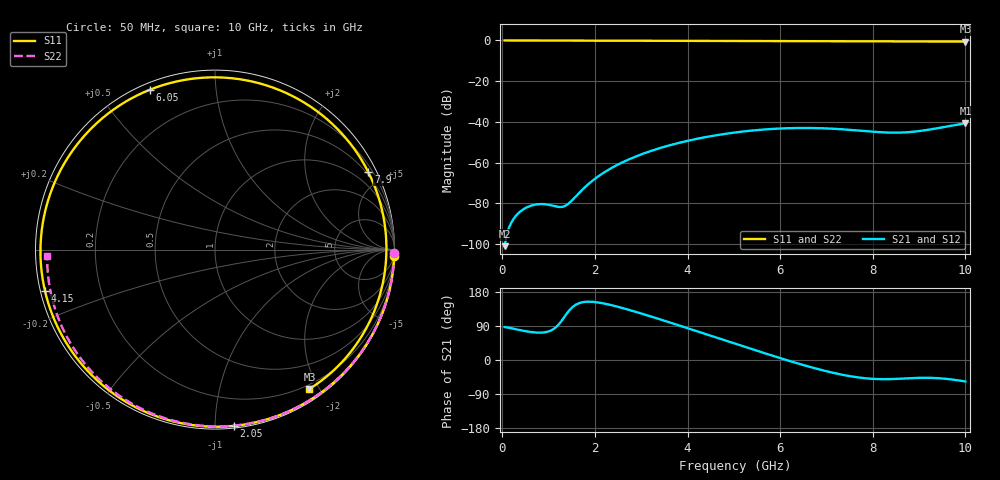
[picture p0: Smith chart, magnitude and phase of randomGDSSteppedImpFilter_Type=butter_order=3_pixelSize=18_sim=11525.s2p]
! freq	dB(S11)	phase(S11)	dB(S12)	phase(S12)
!  dB(S21)	phase(S21)	dB(S22)	phase(S22)
!S-par simulation data
#  GHz  S  DB  R 50
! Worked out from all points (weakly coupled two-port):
!   200 points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, 50 MHz to 10 GHz, reference 50 ohm
!   highest |S21| = -40.68 dB at 10 GHz (marker M1); lowest = -101.0 dB at 50 MHz (marker M2)
!   lowest |S11| = -0.6 dB at 10 GHz (marker M3), VSWR 31.15, Z = 7.29 - j93.9 ohm
!   |S11| at or under -10 dB: nowhere
!   |S22| runs from -0.6 to 0.0 dB; largest |S21 - S12| = 0
!   S11 on the Smith chart (normalised r, x): 50 MHz: 1, -54; 2.05 GHz: 0.01, -1.11; 4.15 GHz: 0.01, -0.12; 6.05 GHz: 0.03, +0.67; 7.9 GHz: 0.41, +4.17; 10 GHz: 0.15, -1.88
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0.05  -0.01 -2.1  -101.03 86.9  -101.03 86.9  -0.00 -1.1
0.7  -0.03 -29.3  -80.67 72.7  -80.67 72.7  -0.02 -14.4
1.4  -0.07 -58.0  -80.66 123.9  -80.66 123.9  -0.04 -28.6
1.45  -0.08 -60.0  -79.74 131.5  -79.74 131.5  -0.04 -29.7
1.75  -0.09 -72.0  -72.81 152.8  -72.81 152.8  -0.05 -35.6
2.05  -0.11 -83.9  -67.11 152.1  -67.11 152.1  -0.05 -41.6
2.7  -0.14 -109.4  -58.74 133.5  -58.74 133.5  -0.07 -54.1
3.4  -0.18 -136.7  -52.88 107.5  -52.88 107.5  -0.09 -67.3
4.15  -0.22 -166.3  -48.55 78.1  -48.55 78.1  -0.11 -80.9
4.6  -0.25 175.4  -46.63 60.2  -46.63 60.2  -0.13 -88.8
5.05  -0.28 156.6  -45.13 42.2  -45.13 42.2  -0.15 -96.6
5.55  -0.31 134.8  -43.92 22.4  -43.92 22.4  -0.17 -105.0
6.05  -0.34 112.3  -43.20 3.2  -43.20 3.2  -0.20 -113.3
6.4  -0.35 96.1  -42.99 -9.7  -42.99 -9.7  -0.22 -119.1
6.7  -0.36 82.1  -43.01 -20.1  -43.01 -20.1  -0.24 -123.9
7.25  -0.37 56.4  -43.50 -36.7  -43.50 -36.7  -0.28 -132.8
7.9  -0.38 26.7  -44.63 -48.8  -44.63 -48.8  -0.34 -143.2
8.35  -0.39 7.2  -45.24 -50.5  -45.24 -50.5  -0.38 -150.5
8.7  -0.41 -7.3  -45.15 -48.7  -45.15 -48.7  -0.42 -156.2
9.1  -0.44 -23.1  -44.21 -46.9  -44.21 -46.9  -0.46 -162.7
9.55  -0.49 -39.9  -42.48 -49.3  -42.48 -49.3  -0.52 -170.2
10  -0.56 -55.9  -40.68 -56.7  -40.68 -56.7  -0.58 -177.8
